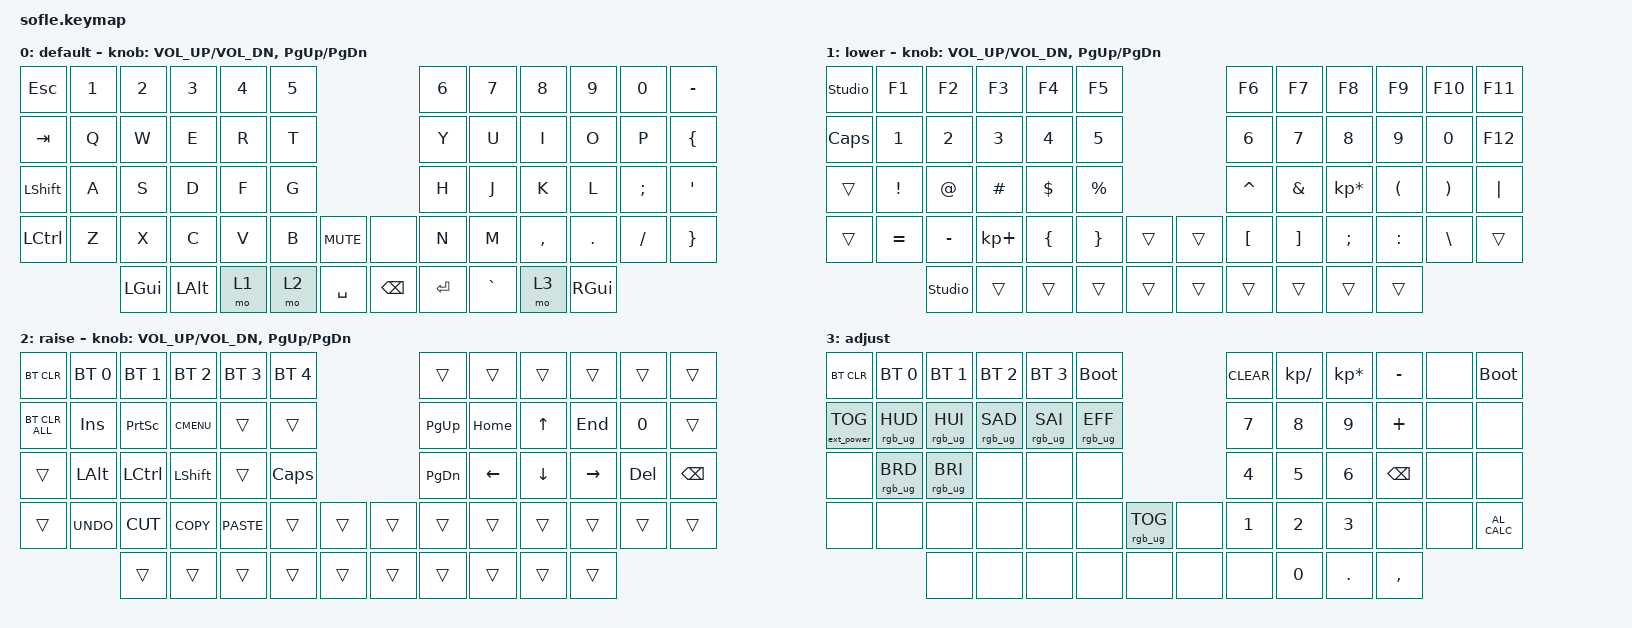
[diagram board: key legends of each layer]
/*
 * Copyright (c) 2020 The ZMK Contributors
 *
 * SPDX-License-Identifier: MIT
 */

#include <behaviors.dtsi>
#include <dt-bindings/zmk/bt.h>
#include <dt-bindings/zmk/ext_power.h>
#include <dt-bindings/zmk/keys.h>
#include <dt-bindings/zmk/rgb.h>

#define BASE 0
#define LOWER 1
#define RAISE 2
#define ADJUST 3

/ {
    // Activate ADJUST layer by pressing raise and lower

    conditional_layers {
        compatible = "zmk,conditional-layers";

        adjust_layer {
            if-layers = <LOWER RAISE>;
            then-layer = <ADJUST>;
        };
    };

    keymap {
        compatible = "zmk,keymap";

        default_layer {
            label = "default";

            // ------------------------------------------------------------------------------------------------------------
            // |   `   |  1  |  2  |  3   |  4   |  5   |                   |  6   |  7    |  8    |  9   |   0   |       |
            // |  ESC  |  Q  |  W  |  E   |  R   |  T   |                   |  Y   |  U    |  I    |  O   |   P   | BKSPC |
            // |  TAB  |  A  |  S  |  D   |  F   |  G   |                   |  H   |  J    |  K    |  L   |   ;   |   '   |
            // | SHIFT |  Z  |  X  |  C   |  V   |  B   |  MUTE  |  |       |  N   |  M    |  ,    |  .   |   /   | SHIFT |
            //               | GUI | ALT  | CTRL | LOWER|  ENTER |  | SPACE | RAISE| CTRL  | ALT   | GUI  |

            bindings = <
&kp ESCAPE      &kp N1  &kp N2    &kp N3    &kp N4  &kp N5                               &kp N6   &kp N7     &kp N8     &kp N9    &kp N0    &kp MINUS
&kp TAB         &kp Q   &kp W     &kp E     &kp R   &kp T                                &kp Y    &kp U      &kp I      &kp O     &kp P     &kp LEFT_BRACE
&kp LEFT_SHIFT  &kp A   &kp S     &kp D     &kp F   &kp G                                &kp H    &kp J      &kp K      &kp L     &kp SEMI  &kp SQT
&kp LCTRL       &kp Z   &kp X     &kp C     &kp V   &kp B   &kp C_MUTE    &none          &kp N    &kp M      &kp COMMA  &kp DOT   &kp FSLH  &kp RIGHT_BRACE
                        &kp LGUI  &kp LALT  &mo 1   &mo 2   &kp SPACE     &kp BACKSPACE  &kp RET  &kp GRAVE  &mo 3      &kp RGUI
            >;

            sensor-bindings = <&inc_dec_kp C_VOL_UP C_VOL_DN &inc_dec_kp PG_UP PG_DN>;
        };

        lower_layer {
            label = "lower";

            // TODO: Some binds are waiting for shifted keycode support.
            // ------------------------------------------------------------------------------------------------------------
            // |       |  F1 |  F2 |  F3  |  F4  |  F5  |                   |  F6  |  F7   |  F8   |  F9  |  F10  |  F11  |
            // |   `   |  1  |  2  |  3   |  4   |  5   |                   |  6   |  7    |  8    |  9   |   0   |  F12  |
            // |       |  !  |  @  |  #   |  $   |  %   |                   |  ^   |  &    |  *    |  (   |   )   |   |   |
            // |       |  =  |  -  |  +   |  {   |  }   |        |  |       |  [   |  ]    |  ;    |  :   |   \   |       |
            //               |     |      |      |      |        |  |       |      |       |       |      |

            bindings = <
&studio_unlock  &kp F1     &kp F2          &kp F3       &kp F4    &kp F5                       &kp F6     &kp F7    &kp F8           &kp F9     &kp F10   &kp F11
&kp CAPSLOCK    &kp N1     &kp N2          &kp N3       &kp N4    &kp N5                       &kp N6     &kp N7    &kp N8           &kp N9     &kp N0    &kp F12
&trans          &kp EXCL   &kp AT          &kp HASH     &kp DLLR  &kp PRCNT                    &kp CARET  &kp AMPS  &kp KP_MULTIPLY  &kp LPAR   &kp RPAR  &kp PIPE
&trans          &kp EQUAL  &kp MINUS       &kp KP_PLUS  &kp LBRC  &kp RBRC   &trans    &trans  &kp LBKT   &kp RBKT  &kp SEMI         &kp COLON  &kp BSLH  &trans
                           &studio_unlock  &trans       &trans    &trans     &trans    &trans  &trans     &trans    &trans           &trans
            >;

            sensor-bindings = <&inc_dec_kp C_VOL_UP C_VOL_DN &inc_dec_kp PG_UP PG_DN>;
        };

        raise_layer {
            label = "raise";

            // ------------------------------------------------------------------------------------------------------------
            // | BTCLR | BT1  | BT2  |  BT3  |  BT4  |  BT5 |                |      |      |       |      |       |       |
            // |       | INS  | PSCR | GUI   |       |      |                | PGUP |      |   ^   |      |       |       |
            // |       | ALT  | CTRL | SHIFT |       | CAPS |                | PGDN |   <- |   v   |  ->  |  DEL  | BKSPC |
            // |       | UNDO | CUT  | COPY  | PASTE |      |      |  |      |      |      |       |      |       |       |
            //                |      |       |       |      |      |  |      |      |      |       |      |

            bindings = <
&bt BT_CLR      &bt BT_SEL 0  &bt BT_SEL 1  &bt BT_SEL 2  &bt BT_SEL 3  &bt BT_SEL 4                    &trans     &trans    &trans    &trans     &trans   &trans
&bt BT_CLR_ALL  &kp INS       &kp PSCRN     &kp K_CMENU   &trans        &trans                          &kp PG_UP  &kp HOME  &kp UP    &kp END    &kp N0   &trans
&trans          &kp LALT      &kp LCTRL     &kp LSHFT     &trans        &kp CLCK                        &kp PG_DN  &kp LEFT  &kp DOWN  &kp RIGHT  &kp DEL  &kp BSPC
&trans          &kp K_UNDO    &kp K_CUT     &kp K_COPY    &kp K_PASTE   &trans        &trans    &trans  &trans     &trans    &trans    &trans     &trans   &trans
                              &trans        &trans        &trans        &trans        &trans    &trans  &trans     &trans    &trans    &trans
            >;

            sensor-bindings = <&inc_dec_kp C_VOL_UP C_VOL_DN &inc_dec_kp PG_UP PG_DN>;
        };

        adjust_layer {
            // ----------------------------------------------------------------------------------------------------------------------------
            // | BTCLR  |  BT1    |  BT2    |   BT3   |   BT4   |   BT5   |                  |      |      |       |      |       |       |
            // | EXTPWR | RGB_HUD | RGB_HUI | RGB_SAD | RGB_SAI | RGB_EFF |                  |      |      |       |      |       |       |
            // |        | RGB_BRD | RGB_BRI |         |         |         |                  |      |      |       |      |       |       |
            // |        |         |         |         |         |         | RGB_TOG | |      |      |      |       |      |       |       |
            //                    |         |         |         |         |         | |      |      |      |       |      |

            label = "adjust";
            bindings = <
&bt BT_CLR         &bt BT_SEL 0     &bt BT_SEL 1     &bt BT_SEL 2     &bt BT_SEL 3     &bootloader                                &kp CLEAR     &kp KP_DIVIDE  &kp KP_MULTIPLY  &kp MINUS      &none  &bootloader
&ext_power EP_TOG  &rgb_ug RGB_HUD  &rgb_ug RGB_HUI  &rgb_ug RGB_SAD  &rgb_ug RGB_SAI  &rgb_ug RGB_EFF                            &kp N7        &kp N8         &kp N9           &kp PLUS       &none  &none
&none              &rgb_ug RGB_BRD  &rgb_ug RGB_BRI  &none            &none            &none                                      &kp NUMBER_4  &kp N5         &kp NUMBER_6     &kp BACKSPACE  &none  &none
&none              &none            &none            &none            &none            &none            &rgb_ug RGB_TOG    &none  &kp NUMBER_1  &kp NUMBER_2   &kp NUMBER_3     &none          &none  &kp C_AL_CALC
                                    &none            &none            &none            &none            &none              &none  &none         &kp N0         &kp DOT          &kp COMMA
            >;
        };
    };
};
